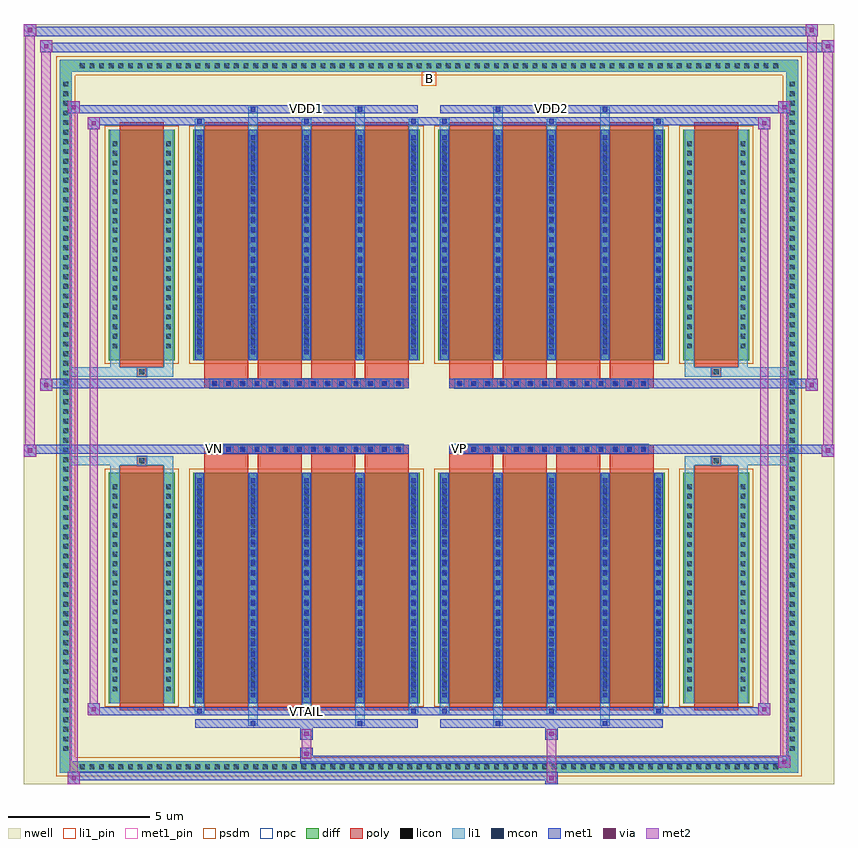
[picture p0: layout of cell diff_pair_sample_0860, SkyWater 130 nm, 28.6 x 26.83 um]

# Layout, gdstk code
import gdstk
lib = gdstk.Library(unit=1e-6, precision=5e-09)
def R(c, l, rs):  # rectangles x0, y0, x1, y1
    for r in rs: c.add(gdstk.rectangle(r[:2], r[2:], *l))
def A(c, l, x, y, w, h, nx, ny, dx, dy):  # array of equal rectangles
    R(c, l, [(x+i*dx, y+j*dy, x+i*dx+w, y+j*dy+h) for i in range(nx) for j in range(ny)])
def P(c, l, *ps):  # polygons
    for p in ps: c.add(gdstk.Polygon(p, *l))
nwell = (64, 20)
diff = (65, 20)
poly = (66, 20)
licon = (66, 44)
li1_pin = (67, 16)
li1 = (67, 20)
mcon = (67, 44)
met1_pin = (68, 16)
met1 = (68, 20)
via = (68, 44)
met2 = (69, 20)
psdm = (94, 20)
npc = (95, 20)

diff_pair_sample_0860 = lib.new_cell('diff_pair_sample_0860')
R(diff_pair_sample_0860, nwell, [(-14.3,-12.98,14.3,13.85), (-11.62,-11.17,-0.01,-0.795), (0.01,-11.17,11.62,-0.795), (-11.62,0.795,-0.01,11.17), (0.01,0.795,11.62,11.17)])
A(diff_pair_sample_0860, diff, -12.445, -12.58, 0.41, 0.41, 73, 2, 0.34, 24.75)
A(diff_pair_sample_0860, diff, -13.03, -11.935, 0.41, 0.41, 1, 70, 0, 0.34)
A(diff_pair_sample_0860, diff, 12.62, -11.935, 0.41, 0.41, 1, 70, 0, 0.34)
R(diff_pair_sample_0860, diff, [(-12.445,-12.58,12.445,-12.17), (-13.03,-11.935,-12.62,11.935), (12.62,-11.935,13.03,11.935), (-11.31,-10.125,-8.97,-1.985), (-8.33,-10.125,-0.32,-1.985), (0.32,-10.125,8.33,-1.985), (8.97,-10.125,11.31,-1.985), (-11.31,1.985,-8.97,10.125), (-8.33,1.985,-0.32,10.125), (0.32,1.985,8.33,10.125), (8.97,1.985,11.31,10.125), (-12.445,12.17,12.445,12.58)])
P(diff_pair_sample_0860, diff, [(13.03,12.58),(-13.03,12.58),(-13.03,-12.17),(-12.62,-12.17),(-12.62,12.17),(12.62,12.17),(12.62,-12.17),(-12.62,-12.17),(-13.03,-12.17),(-13.03,-12.58),(13.03,-12.58)])
A(diff_pair_sample_0860, poly, -7.94, -10.375, 1.56, 8.64, 4, 2, 1.89, 12.11)
A(diff_pair_sample_0860, poly, 0.71, -10.375, 1.56, 8.64, 4, 2, 1.89, 12.11)
A(diff_pair_sample_0860, poly, -7.94, -1.735, 1.56, 0.41, 4, 2, 1.89, 3.06)
A(diff_pair_sample_0860, poly, 0.71, -1.735, 1.56, 0.41, 4, 2, 1.89, 3.06)
A(diff_pair_sample_0860, poly, -7.74, -1.325, 0.33, 0.33, 14, 2, 0.5, 2.32)
A(diff_pair_sample_0860, poly, 0.91, -1.325, 0.33, 0.33, 14, 2, 0.5, 2.32)
R(diff_pair_sample_0860, poly, [(-10.92,-10.375,-9.36,-1.735), (9.36,-10.375,10.92,-1.735), (-10.305,-1.735,-9.975,-1.405), (-10.305,-1.735,-9.975,-1.405), (9.975,-1.735,10.305,-1.405), (9.975,-1.735,10.305,-1.405), (-7.94,-1.325,-0.71,-0.995), (0.71,-1.325,7.94,-0.995), (-7.94,0.995,-0.71,1.325), (0.71,0.995,7.94,1.325), (-10.305,1.405,-9.975,1.735), (-10.305,1.405,-9.975,1.735), (9.975,1.405,10.305,1.735), (9.975,1.405,10.305,1.735), (-10.92,1.735,-9.36,10.375), (9.36,1.735,10.92,10.375)])
A(diff_pair_sample_0860, licon, -12.325, -12.46, 0.17, 0.17, 73, 2, 0.34, 24.75)
A(diff_pair_sample_0860, licon, -12.91, -11.815, 0.17, 0.17, 1, 70, 0, 0.34)
A(diff_pair_sample_0860, licon, 12.74, -11.815, 0.17, 0.17, 1, 70, 0, 0.34)
A(diff_pair_sample_0860, licon, -11.17, -9.71, 0.17, 0.17, 1, 22, 0, 0.34)
A(diff_pair_sample_0860, licon, -9.28, -9.71, 0.17, 0.17, 1, 22, 0, 0.34)
A(diff_pair_sample_0860, licon, -8.19, -9.71, 0.17, 0.17, 5, 22, 1.89, 0.34)
A(diff_pair_sample_0860, licon, 0.46, -9.71, 0.17, 0.17, 5, 22, 1.89, 0.34)
A(diff_pair_sample_0860, licon, 9.11, -9.71, 0.17, 0.17, 1, 22, 0, 0.34)
A(diff_pair_sample_0860, licon, 11, -9.71, 0.17, 0.17, 1, 22, 0, 0.34)
A(diff_pair_sample_0860, licon, -7.66, -1.245, 0.17, 0.17, 14, 2, 0.5, 2.32)
A(diff_pair_sample_0860, licon, 0.99, -1.245, 0.17, 0.17, 14, 2, 0.5, 2.32)
A(diff_pair_sample_0860, licon, -11.17, 2.4, 0.17, 0.17, 1, 22, 0, 0.34)
A(diff_pair_sample_0860, licon, -9.28, 2.4, 0.17, 0.17, 1, 22, 0, 0.34)
A(diff_pair_sample_0860, licon, -8.19, 2.4, 0.17, 0.17, 5, 22, 1.89, 0.34)
A(diff_pair_sample_0860, licon, 0.46, 2.4, 0.17, 0.17, 5, 22, 1.89, 0.34)
A(diff_pair_sample_0860, licon, 9.11, 2.4, 0.17, 0.17, 1, 22, 0, 0.34)
A(diff_pair_sample_0860, licon, 11, 2.4, 0.17, 0.17, 1, 22, 0, 0.34)
R(diff_pair_sample_0860, licon, [(-10.225,-1.655,-10.055,-1.485), (10.055,-1.655,10.225,-1.485), (-10.225,1.485,-10.055,1.655), (10.055,1.485,10.225,1.655)])
R(diff_pair_sample_0860, li1_pin, [(-0.25,11.67,0.25,12.17)])
A(diff_pair_sample_0860, li1, -12.405, -12.54, 0.33, 0.33, 73, 2, 0.34, 24.75)
A(diff_pair_sample_0860, li1, -12.99, -11.895, 0.33, 0.33, 1, 70, 0, 0.34)
A(diff_pair_sample_0860, li1, 12.66, -11.895, 0.33, 0.33, 1, 70, 0, 0.34)
A(diff_pair_sample_0860, li1, -8.27, -10.5, 0.33, 0.375, 3, 2, 3.78, 20.625)
A(diff_pair_sample_0860, li1, -8.19, -10.5, 0.17, 0.17, 3, 2, 3.78, 20.83)
A(diff_pair_sample_0860, li1, 0.38, -10.5, 0.33, 0.375, 3, 2, 3.78, 20.625)
A(diff_pair_sample_0860, li1, 0.46, -10.5, 0.17, 0.17, 3, 2, 3.78, 20.83)
A(diff_pair_sample_0860, li1, -8.27, -10.125, 0.33, 8.14, 5, 2, 1.89, 12.11)
A(diff_pair_sample_0860, li1, 0.38, -10.125, 0.33, 8.14, 5, 2, 1.89, 12.11)
A(diff_pair_sample_0860, li1, -8.19, -9.92, 0.17, 0.17, 5, 22, 1.89, 0.36)
A(diff_pair_sample_0860, li1, -8.19, -9.92, 0.17, 7.73, 5, 2, 1.89, 12.11)
A(diff_pair_sample_0860, li1, 0.46, -9.92, 0.17, 0.17, 5, 22, 1.89, 0.36)
A(diff_pair_sample_0860, li1, 0.46, -9.92, 0.17, 7.73, 5, 2, 1.89, 12.11)
A(diff_pair_sample_0860, li1, -11.25, -9.79, 0.33, 0.33, 1, 22, 0, 0.34)
A(diff_pair_sample_0860, li1, -9.36, -9.79, 0.33, 0.33, 1, 22, 0, 0.34)
A(diff_pair_sample_0860, li1, -8.27, -9.79, 0.33, 0.33, 5, 22, 1.89, 0.34)
A(diff_pair_sample_0860, li1, 0.38, -9.79, 0.33, 0.33, 5, 22, 1.89, 0.34)
A(diff_pair_sample_0860, li1, 9.03, -9.79, 0.33, 0.33, 1, 22, 0, 0.34)
A(diff_pair_sample_0860, li1, 10.92, -9.79, 0.33, 0.33, 1, 22, 0, 0.34)
A(diff_pair_sample_0860, li1, -7.74, -1.325, 0.33, 0.33, 14, 2, 0.5, 2.32)
A(diff_pair_sample_0860, li1, 0.91, -1.325, 0.33, 0.33, 14, 2, 0.5, 2.32)
A(diff_pair_sample_0860, li1, -8.19, 2.19, 0.17, 0.17, 5, 22, 1.89, 0.36)
A(diff_pair_sample_0860, li1, 0.46, 2.19, 0.17, 0.17, 5, 22, 1.89, 0.36)
A(diff_pair_sample_0860, li1, -11.25, 2.32, 0.33, 0.33, 1, 22, 0, 0.34)
A(diff_pair_sample_0860, li1, -9.36, 2.32, 0.33, 0.33, 1, 22, 0, 0.34)
A(diff_pair_sample_0860, li1, -8.27, 2.32, 0.33, 0.33, 5, 22, 1.89, 0.34)
A(diff_pair_sample_0860, li1, 0.38, 2.32, 0.33, 0.33, 5, 22, 1.89, 0.34)
A(diff_pair_sample_0860, li1, 9.03, 2.32, 0.33, 0.33, 1, 22, 0, 0.34)
A(diff_pair_sample_0860, li1, 10.92, 2.32, 0.33, 0.33, 1, 22, 0, 0.34)
R(diff_pair_sample_0860, li1, [(-13.03,-12.58,-12.62,-12.17), (-13.03,-12.58,-12.62,-12.17), (-12.62,-12.58,12.62,-12.17), (12.62,-12.58,13.03,-12.17), (12.62,-12.58,13.03,-12.17), (-13.03,-12.17,-12.62,12.17), (12.62,-12.17,13.03,12.17), (-6.38,-10.93,-6.05,-10.125), (-6.3,-10.93,-6.13,-10.76), (-2.6,-10.93,-2.27,-10.125), (-2.52,-10.93,-2.35,-10.76), (2.27,-10.93,2.6,-10.125), (2.35,-10.93,2.52,-10.76), (6.05,-10.93,6.38,-10.125), (6.13,-10.93,6.3,-10.76), (-11.25,-10.125,-10.92,-1.985), (-9.36,-10.125,-9.03,-1.985), (9.03,-10.125,9.36,-1.985), (10.92,-10.125,11.25,-1.985), (-11.25,-1.985,-10.92,-1.405), (-9.36,-1.985,-9.03,-1.405), (9.03,-1.985,9.36,-1.405), (10.92,-1.985,11.25,-1.405), (-13.03,-1.735,-10.305,-1.405), (-11.25,-1.735,-10.305,-1.405), (-10.305,-1.735,-9.975,-1.405), (-9.975,-1.735,-9.03,-1.405), (9.03,-1.735,9.975,-1.405), (9.975,-1.735,10.305,-1.405), (9.975,-1.735,13.03,-1.405), (10.305,-1.735,11.25,-1.405), (-13.03,1.405,-10.305,1.735), (-11.25,1.405,-10.305,1.735), (-11.25,1.405,-10.92,1.985), (-10.305,1.405,-9.975,1.735), (-9.975,1.405,-9.03,1.735), (-9.36,1.405,-9.03,1.985), (9.03,1.405,9.975,1.735), (9.03,1.405,9.36,1.985), (9.975,1.405,10.305,1.735), (9.975,1.405,13.03,1.735), (10.305,1.405,11.25,1.735), (10.92,1.405,11.25,1.985), (-11.25,1.985,-10.92,10.125), (-9.36,1.985,-9.03,10.125), (9.03,1.985,9.36,10.125), (10.92,1.985,11.25,10.125), (-6.38,10.125,-6.05,10.93), (-2.6,10.125,-2.27,10.93), (2.27,10.125,2.6,10.93), (6.05,10.125,6.38,10.93), (-6.3,10.76,-6.13,10.93), (-2.52,10.76,-2.35,10.93), (2.35,10.76,2.52,10.93), (6.13,10.76,6.3,10.93), (-13.03,12.17,-12.62,12.58), (-13.03,12.17,-12.62,12.58), (-12.62,12.17,12.62,12.58), (12.62,12.17,13.03,12.58), (12.62,12.17,13.03,12.58)])
A(diff_pair_sample_0860, mcon, -8.19, -10.5, 0.17, 0.17, 3, 2, 3.78, 20.83)
A(diff_pair_sample_0860, mcon, 0.46, -10.5, 0.17, 0.17, 3, 2, 3.78, 20.83)
A(diff_pair_sample_0860, mcon, -8.19, -9.92, 0.17, 0.17, 5, 22, 1.89, 0.36)
A(diff_pair_sample_0860, mcon, 0.46, -9.92, 0.17, 0.17, 5, 22, 1.89, 0.36)
A(diff_pair_sample_0860, mcon, -7.66, -1.245, 0.17, 0.17, 14, 2, 0.5, 2.32)
A(diff_pair_sample_0860, mcon, 0.99, -1.245, 0.17, 0.17, 14, 2, 0.5, 2.32)
A(diff_pair_sample_0860, mcon, -8.19, 2.19, 0.17, 0.17, 5, 22, 1.89, 0.36)
A(diff_pair_sample_0860, mcon, 0.46, 2.19, 0.17, 0.17, 5, 22, 1.89, 0.36)
R(diff_pair_sample_0860, mcon, [(-6.3,-10.93,-6.13,-10.76), (-2.52,-10.93,-2.35,-10.76), (2.35,-10.93,2.52,-10.76), (6.13,-10.93,6.3,-10.76), (-6.3,10.76,-6.13,10.93), (-2.52,10.76,-2.35,10.93), (2.35,10.76,2.52,10.93), (6.13,10.76,6.3,10.93)])
R(diff_pair_sample_0860, met1_pin, [(-4.46,-10.54,-4.19,-10.27), (-7.71,-1.285,-7.44,-1.015), (0.94,-1.285,1.21,-1.015), (-4.46,10.72,-4.19,10.99), (4.19,10.72,4.46,10.99)])
A(diff_pair_sample_0860, met1, -8.25, -10.56, 0.29, 0.29, 3, 2, 3.78, 20.83)
A(diff_pair_sample_0860, met1, 0.4, -10.56, 0.29, 0.29, 3, 2, 3.78, 20.83)
A(diff_pair_sample_0860, met1, -8.25, -10.125, 0.29, 8.14, 5, 2, 1.89, 12.11)
A(diff_pair_sample_0860, met1, 0.4, -10.125, 0.29, 8.14, 5, 2, 1.89, 12.11)
A(diff_pair_sample_0860, met1, -8.25, -9.98, 0.29, 0.29, 5, 22, 1.89, 0.36)
A(diff_pair_sample_0860, met1, 0.4, -9.98, 0.29, 0.29, 5, 22, 1.89, 0.36)
A(diff_pair_sample_0860, met1, -7.72, -1.305, 0.29, 0.29, 14, 2, 0.5, 2.32)
A(diff_pair_sample_0860, met1, 0.93, -1.305, 0.29, 0.29, 14, 2, 0.5, 2.32)
A(diff_pair_sample_0860, met1, -8.25, 2.13, 0.29, 0.29, 5, 22, 1.89, 0.36)
A(diff_pair_sample_0860, met1, 0.4, 2.13, 0.29, 0.29, 5, 22, 1.89, 0.36)
R(diff_pair_sample_0860, met1, [(-12.76,-12.98,-12.33,-12.55), (4.11,-12.98,4.54,-12.55), (-12.76,-12.84,4.54,-12.55), (12.33,-12.41,12.76,-11.98), (-4.54,-12.27,12.76,-11.98), (-4.54,-12.13,-4.11,-11.7), (-4.54,-11.42,-4.11,-10.99), (4.11,-11.42,4.54,-10.99), (-8.25,-10.99,-0.4,-10.7), (-6.36,-10.99,-6.07,-10.7), (-2.58,-10.99,-2.29,-10.7), (0.4,-10.99,8.25,-10.7), (2.29,-10.99,2.58,-10.7), (6.07,-10.99,6.36,-10.7), (-12.05,-10.56,-11.62,-10.13), (-12.05,-10.56,-8.25,-10.27), (-8.25,-10.56,-0.4,-10.27), (-0.4,-10.56,0.4,-10.27), (0.4,-10.56,8.25,-10.27), (8.25,-10.56,12.05,-10.27), (11.62,-10.56,12.05,-10.13), (-14.3,-1.425,-13.87,-0.995), (13.87,-1.425,14.3,-0.995), (-14.3,-1.325,-0.71,-0.995), (-7.94,-1.325,-0.71,-0.995), (0.71,-1.325,7.94,-0.995), (0.71,-1.325,14.3,-0.995), (-13.73,0.895,-13.3,1.325), (13.3,0.895,13.73,1.325), (-13.73,0.995,-7.94,1.325), (-7.94,0.995,-0.71,1.325), (0.71,0.995,7.94,1.325), (7.94,0.995,13.73,1.325), (-12.05,10.13,-11.62,10.56), (11.62,10.13,12.05,10.56), (-12.05,10.27,-8.25,10.56), (-8.25,10.27,-0.4,10.56), (-0.4,10.27,0.4,10.56), (0.4,10.27,8.25,10.56), (8.25,10.27,12.05,10.56), (-12.76,10.7,-12.33,11.13), (-12.76,10.7,-8.25,10.99), (-8.25,10.7,-0.4,10.99), (-6.36,10.7,-6.07,10.99), (-2.58,10.7,-2.29,10.99), (0.4,10.7,8.25,10.99), (2.29,10.7,2.58,10.99), (6.07,10.7,6.36,10.99), (8.25,10.7,12.76,10.99), (12.33,10.7,12.76,11.13), (-13.73,12.85,-13.3,13.28), (-13.73,12.85,-11.62,13.18), (-11.62,12.85,11.62,13.18), (11.62,12.85,14.3,13.18), (13.87,12.85,14.3,13.28), (-14.3,13.42,-13.87,13.85), (-14.3,13.42,-11.62,13.75), (-11.62,13.42,11.62,13.75), (11.62,13.42,13.73,13.75), (13.3,13.42,13.73,13.85)])
R(diff_pair_sample_0860, via, [(-12.62,-12.84,-12.47,-12.69), (4.25,-12.84,4.4,-12.69), (12.47,-12.27,12.62,-12.12), (-4.4,-11.99,-4.25,-11.84), (-4.4,-11.28,-4.25,-11.13), (4.25,-11.28,4.4,-11.13), (-11.91,-10.42,-11.76,-10.27), (11.76,-10.42,11.91,-10.27), (-14.16,-1.285,-14.01,-1.135), (14.01,-1.285,14.16,-1.135), (-13.59,1.035,-13.44,1.185), (13.44,1.035,13.59,1.185), (-11.91,10.27,-11.76,10.42), (11.76,10.27,11.91,10.42), (-12.62,10.84,-12.47,10.99), (12.47,10.84,12.62,10.99), (-13.59,12.99,-13.44,13.14), (14.01,12.99,14.16,13.14), (-14.16,13.56,-14.01,13.71), (13.44,13.56,13.59,13.71)])
R(diff_pair_sample_0860, met2, [(-12.76,-12.98,-12.33,-12.55), (-12.69,-12.98,-12.4,11.13), (-12.4,-12.98,-12.33,-12.55), (-12.71,-12.93,-12.38,-12.6), (4.16,-12.93,4.49,-12.6), (4.16,-12.6,4.49,-11.37), (12.33,-12.41,12.76,-11.98), (12.4,-12.41,12.69,11.13), (12.69,-12.41,12.76,-11.98), (12.38,-12.36,12.71,-12.03), (-4.49,-12.08,-4.16,-11.75), (-4.49,-11.75,-4.16,-11.37), (-4.49,-11.37,-4.16,-11.04), (4.16,-11.37,4.49,-11.04), (-12.05,-10.56,-11.62,-10.13), (-11.98,-10.56,-11.69,10.56), (-11.69,-10.56,-11.62,-10.13), (11.62,-10.56,12.05,-10.13), (11.69,-10.56,11.98,10.56), (11.98,-10.56,12.05,-10.13), (-12,-10.51,-11.67,-10.18), (11.67,-10.51,12,-10.18), (-14.3,-1.425,-13.87,-0.995), (-14.25,-1.425,-13.92,13.85), (-13.92,-1.425,-13.87,-0.995), (13.87,-1.425,14.3,-0.995), (13.92,-1.425,14.25,13.28), (14.25,-1.425,14.3,-0.995), (-14.25,-1.375,-13.92,-1.045), (13.92,-1.375,14.25,-1.045), (-13.73,0.895,-13.3,1.325), (-13.68,0.895,-13.35,13.28), (-13.35,0.895,-13.3,1.325), (13.3,0.895,13.73,1.325), (13.35,0.895,13.68,13.85), (13.68,0.895,13.73,1.325), (-13.68,0.945,-13.35,1.275), (13.35,0.945,13.68,1.275), (-12.05,10.13,-11.62,10.56), (-11.69,10.13,-11.62,10.56), (11.62,10.13,12.05,10.56), (11.98,10.13,12.05,10.56), (-12,10.18,-11.67,10.51), (11.67,10.18,12,10.51), (-12.76,10.7,-12.33,11.13), (-12.4,10.7,-12.33,11.13), (12.33,10.7,12.76,11.13), (12.69,10.7,12.76,11.13), (-12.71,10.75,-12.38,11.08), (12.38,10.75,12.71,11.08), (-13.73,12.85,-13.3,13.28), (-13.35,12.85,-13.3,13.28), (13.87,12.85,14.3,13.28), (14.25,12.85,14.3,13.28), (-13.68,12.9,-13.35,13.23), (13.92,12.9,14.25,13.23), (-14.3,13.42,-13.87,13.85), (-13.92,13.42,-13.87,13.85), (13.3,13.42,13.73,13.85), (13.68,13.42,13.73,13.85), (-14.25,13.47,-13.92,13.8), (13.35,13.47,13.68,13.8)])
R(diff_pair_sample_0860, psdm, [(-11.44,-10.255,-8.84,-1.855), (-8.46,-10.255,-0.19,-1.855), (0.19,-10.255,8.46,-1.855), (8.84,-10.255,11.44,-1.855), (-11.44,1.855,-8.84,10.255), (-8.46,1.855,-0.19,10.255), (0.19,1.855,8.46,10.255), (8.84,1.855,11.44,10.255)])
P(diff_pair_sample_0860, psdm, [(13.16,12.71),(-13.16,12.71),(-13.16,-12.04),(-12.49,-12.04),(-12.49,12.04),(12.49,12.04),(12.49,-12.04),(-12.49,-12.04),(-13.16,-12.04),(-13.16,-12.71),(13.16,-12.71)])
A(diff_pair_sample_0860, npc, -7.76, -1.345, 0.37, 0.37, 14, 2, 0.5, 2.32)
A(diff_pair_sample_0860, npc, 0.89, -1.345, 0.37, 0.37, 14, 2, 0.5, 2.32)
R(diff_pair_sample_0860, npc, [(-10.325,-1.755,-9.955,-1.385), (9.955,-1.755,10.325,-1.385), (-7.76,-1.345,-6.89,-0.975), (-7.76,-1.345,-6.89,-0.975), (-7.26,-1.345,-6.39,-0.975), (-7.26,-1.345,-6.39,-0.975), (-6.76,-1.345,-5.89,-0.975), (-6.76,-1.345,-5.89,-0.975), (-6.26,-1.345,-5.39,-0.975), (-6.26,-1.345,-5.39,-0.975), (-5.76,-1.345,-4.89,-0.975), (-5.76,-1.345,-4.89,-0.975), (-5.26,-1.345,-4.39,-0.975), (-5.26,-1.345,-4.39,-0.975), (-4.76,-1.345,-3.89,-0.975), (-4.76,-1.345,-3.89,-0.975), (-4.26,-1.345,-3.39,-0.975), (-4.26,-1.345,-3.39,-0.975), (-3.76,-1.345,-2.89,-0.975), (-3.76,-1.345,-2.89,-0.975), (-3.26,-1.345,-2.39,-0.975), (-3.26,-1.345,-2.39,-0.975), (-2.76,-1.345,-1.89,-0.975), (-2.76,-1.345,-1.89,-0.975), (-2.26,-1.345,-1.39,-0.975), (-2.26,-1.345,-1.39,-0.975), (-1.76,-1.345,-0.89,-0.975), (-1.76,-1.345,-0.89,-0.975), (0.89,-1.345,1.76,-0.975), (0.89,-1.345,1.76,-0.975), (1.39,-1.345,2.26,-0.975), (1.39,-1.345,2.26,-0.975), (1.89,-1.345,2.76,-0.975), (1.89,-1.345,2.76,-0.975), (2.39,-1.345,3.26,-0.975), (2.39,-1.345,3.26,-0.975), (2.89,-1.345,3.76,-0.975), (2.89,-1.345,3.76,-0.975), (3.39,-1.345,4.26,-0.975), (3.39,-1.345,4.26,-0.975), (3.89,-1.345,4.76,-0.975), (3.89,-1.345,4.76,-0.975), (4.39,-1.345,5.26,-0.975), (4.39,-1.345,5.26,-0.975), (4.89,-1.345,5.76,-0.975), (4.89,-1.345,5.76,-0.975), (5.39,-1.345,6.26,-0.975), (5.39,-1.345,6.26,-0.975), (5.89,-1.345,6.76,-0.975), (5.89,-1.345,6.76,-0.975), (6.39,-1.345,7.26,-0.975), (6.39,-1.345,7.26,-0.975), (6.89,-1.345,7.76,-0.975), (6.89,-1.345,7.76,-0.975), (-7.76,0.975,-6.89,1.345), (-7.76,0.975,-6.89,1.345), (-7.26,0.975,-6.39,1.345), (-7.26,0.975,-6.39,1.345), (-6.76,0.975,-5.89,1.345), (-6.76,0.975,-5.89,1.345), (-6.26,0.975,-5.39,1.345), (-6.26,0.975,-5.39,1.345), (-5.76,0.975,-4.89,1.345), (-5.76,0.975,-4.89,1.345), (-5.26,0.975,-4.39,1.345), (-5.26,0.975,-4.39,1.345), (-4.76,0.975,-3.89,1.345), (-4.76,0.975,-3.89,1.345), (-4.26,0.975,-3.39,1.345), (-4.26,0.975,-3.39,1.345), (-3.76,0.975,-2.89,1.345), (-3.76,0.975,-2.89,1.345), (-3.26,0.975,-2.39,1.345), (-3.26,0.975,-2.39,1.345), (-2.76,0.975,-1.89,1.345), (-2.76,0.975,-1.89,1.345), (-2.26,0.975,-1.39,1.345), (-2.26,0.975,-1.39,1.345), (-1.76,0.975,-0.89,1.345), (-1.76,0.975,-0.89,1.345), (0.89,0.975,1.76,1.345), (0.89,0.975,1.76,1.345), (1.39,0.975,2.26,1.345), (1.39,0.975,2.26,1.345), (1.89,0.975,2.76,1.345), (1.89,0.975,2.76,1.345), (2.39,0.975,3.26,1.345), (2.39,0.975,3.26,1.345), (2.89,0.975,3.76,1.345), (2.89,0.975,3.76,1.345), (3.39,0.975,4.26,1.345), (3.39,0.975,4.26,1.345), (3.89,0.975,4.76,1.345), (3.89,0.975,4.76,1.345), (4.39,0.975,5.26,1.345), (4.39,0.975,5.26,1.345), (4.89,0.975,5.76,1.345), (4.89,0.975,5.76,1.345), (5.39,0.975,6.26,1.345), (5.39,0.975,6.26,1.345), (5.89,0.975,6.76,1.345), (5.89,0.975,6.76,1.345), (6.39,0.975,7.26,1.345), (6.39,0.975,7.26,1.345), (6.89,0.975,7.76,1.345), (6.89,0.975,7.76,1.345), (-10.325,1.385,-9.955,1.755), (9.955,1.385,10.325,1.755)])
diff_pair_sample_0860.add(gdstk.Label('VTAIL', (-4.325,-10.405), layer=68, texttype=5))
diff_pair_sample_0860.add(gdstk.Label('VN', (-7.575,-1.15), layer=68, texttype=5))
diff_pair_sample_0860.add(gdstk.Label('VP', (1.075,-1.15), layer=68, texttype=5))
diff_pair_sample_0860.add(gdstk.Label('B', (0,11.92), layer=67, texttype=5))
diff_pair_sample_0860.add(gdstk.Label('VDD2', (4.325,10.855), layer=68, texttype=5))
diff_pair_sample_0860.add(gdstk.Label('VDD1', (-4.325,10.855), layer=68, texttype=5))

lib.write_gds('diff_pair_sample_0860.gds')
